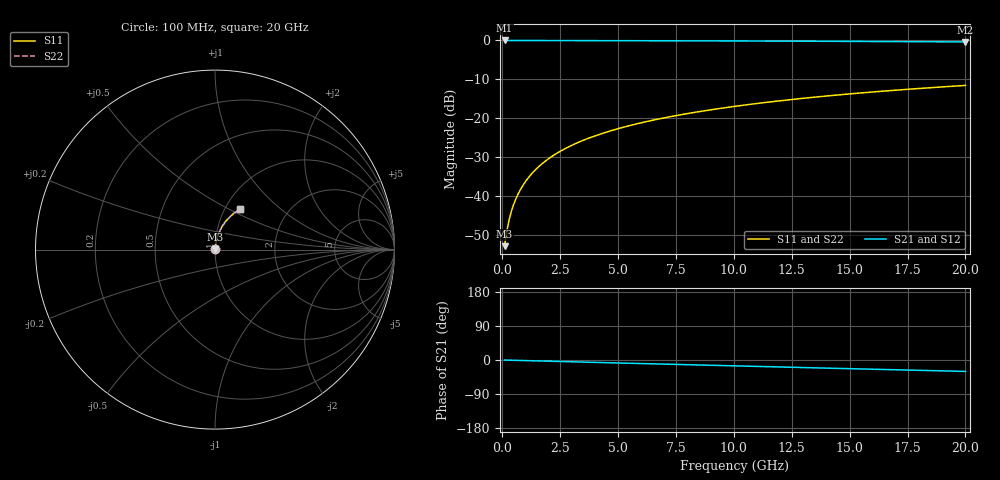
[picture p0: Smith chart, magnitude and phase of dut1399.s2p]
! Touchstone file exported from HFSS 2026.1.0
!  File:  C:/ffzhzh/LocalFiles/Ansys_Project_Files/temp_train_TMRDL_1399_1783166342_18472.aedt
!  Generated:  08:00:20 PM Jul  4, 2026
!  Design:  TMRDL
!  Project:  temp_train_TMRDL_1399_1783166342_18472
! Variables:
!  h_bsmrdl = 2um
!  h_ox = 20um
!  h_rdl = 5um
!  h_sub = 80um
!  h_tmrdl = 5.13um
!  h_tsv = 80um
!  h_via = 3um
!  l_bsmrdl = 300um
!  l_sub = 838.95um
!  l_tmrdl = 438.95um
!  m_sub = 200um
!  pitch = 45.79um
!  r_tsv = 6um
!  s_tmrdl = 10um
!  w_bsmrdl = 18um
!  w_sub = 500um
!  w_tmrdl = 22um
!  x_tsv_center1 = 449.95um
!  x_tsv_center2 = 767.95um
!  x_tsv_center3 = 1228.9um
!  x_tsv_center4 = 1546.9um
!  x_tsv_center5 = 2007.85um
!  x_tsv_center6 = 2325.85um
# GHz S MA R 50.000000
! Terminal data exported
! Port[1] = TM_RDL1_1_T1
! Port[2] = TM_RDL1_1_T2
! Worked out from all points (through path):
!   200 points, 100 MHz to 20 GHz, reference 50 ohm
!   highest |S21| = -0.01 dB at 100 MHz (marker M1); lowest = -0.4 dB at 20 GHz (marker M2)
!   group delay of S21, straight-line fit = 4.18 ps
!   lowest |S11| = -52.9 dB at 100 MHz (marker M3), VSWR 1.00, Z = 50.2 + j0.165 ohm
!   |S11| at or under -10 dB: start of sweep to end of sweep
!   |S22| runs from -52.9 to -11.6 dB; largest |S21 - S12| = 3e-15
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0.1  0.002259 46.8  0.9985 -0.2  0.9985 -0.2  0.002259 46.8
! Gamma 0 0 0 0
! Port Impedance 50 0 50 0
0.2  0.003609 62.5  0.9983 -0.3  0.9983 -0.3  0.003609 62.5
0.3  0.005024 69.4  0.9983 -0.5  0.9983 -0.5  0.005024 69.4
0.4  0.00646 73.3  0.9982 -0.6  0.9982 -0.6  0.00646 73.3
0.5  0.007913 75.8  0.9981 -0.8  0.9981 -0.8  0.007913 75.8
0.6  0.009378 77.6  0.9981 -1.0  0.9981 -1.0  0.009378 77.6
0.8  0.01233 79.7  0.998 -1.3  0.998 -1.3  0.01233 79.7
1.1  0.01679 81.3  0.9978 -1.8  0.9978 -1.8  0.01679 81.3
1.5  0.02274 82.1  0.9976 -2.4  0.9976 -2.4  0.02274 82.1
1.8  0.02719 82.2  0.9973 -2.9  0.9973 -2.9  0.02719 82.2
2.1  0.03161 82.2  0.997 -3.3  0.997 -3.3  0.03161 82.2
2.7  0.0404 81.7  0.9964 -4.3  0.9964 -4.3  0.0404 81.7
3.5  0.05198 80.9  0.9954 -5.5  0.9954 -5.5  0.05198 80.9
4.2  0.06197 80.0  0.9944 -6.6  0.9944 -6.6  0.06197 80.0
5  0.07327 78.9  0.9932 -7.9  0.9932 -7.9  0.07327 78.9
5.9  0.08583 77.7  0.9918 -9.2  0.9918 -9.2  0.08583 77.7
6.8  0.09826 76.5  0.9903 -10.6  0.9903 -10.6  0.09826 76.5
8.3  0.1187 74.5  0.9875 -12.9  0.9875 -12.9  0.1187 74.5
10.1  0.1427 72.0  0.9837 -15.6  0.9837 -15.6  0.1427 71.9
13.4  0.1853 67.3  0.9758 -20.6  0.9758 -20.6  0.1853 67.3
16.7  0.2256 62.7  0.9667 -25.4  0.9667 -25.4  0.2256 62.7
20  0.2635 58.1  0.9566 -30.1  0.9566 -30.1  0.2635 58.1
